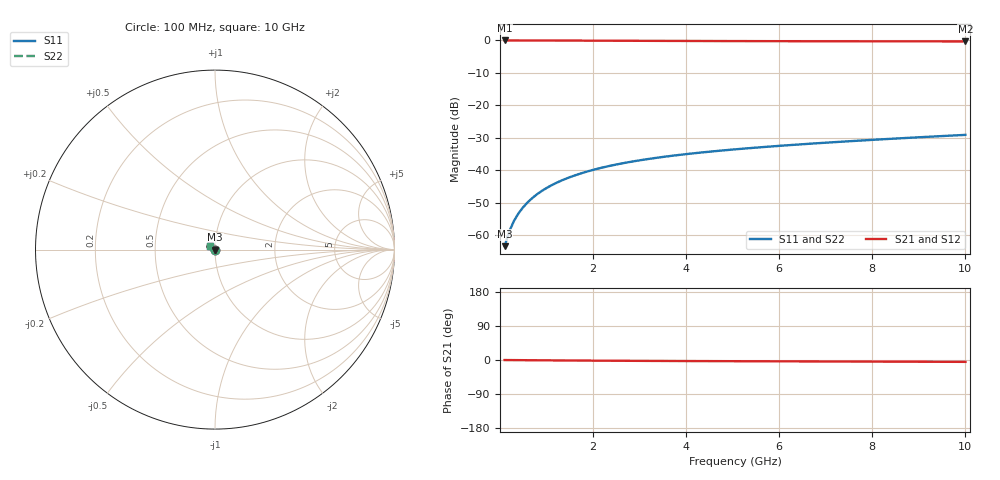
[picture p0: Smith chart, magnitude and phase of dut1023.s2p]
! Touchstone file exported from HFSS 2024.1.0
!  File:  C:/UserFiles/LocalFiles/RDL_TSV_Batchsim/temp_TSV1_1023_1780059991.aedt
!  Generated:  09:15:39 PM May 29, 2026
!  Design:  TSV1
!  Project:  temp_TSV1_1023_1780059991
!  Setup:  Setup1
!  Solution:  Sweep
! Variables:
!  dtsv = 5.63um
!  hbump = 3um
!  htsv = 72.22um
!  lrdl = 252.1521522um
!  p = 40
!  p1 = 47.56um
!  t = 500um
!  trdl = 3um
!  wrdl = 24.89489489um
# GHz S MA R 50.000000
! Terminal data exported
! Port[1] = TSV22_T1
! Port[2] = TSV22_T2
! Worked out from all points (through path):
!   100 points, 100 MHz to 10 GHz, reference 50 ohm
!   highest |S21| = 0.00 dB at 100 MHz (marker M1); lowest = -0.3 dB at 10 GHz (marker M2)
!   lowest |S11| = -63.4 dB at 100 MHz (marker M3), VSWR 1.00, Z = 50 - j0.0548 ohm
!   |S11| at or under -10 dB: start of sweep to end of sweep
!   |S22| runs from -63.4 to -29.1 dB; largest |S21 - S12| = 1.1e-14
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0.1  0.0006748 -54.2  0.9996 -0.1  0.9996 -0.1  0.0006748 -54.2
! Gamma 0 0 0 0
! Port Impedance 50 0 50 0
0.2  0.001141 -73.3  0.9995 -0.2  0.9995 -0.2  0.001141 -73.3
0.3  0.001649 -82.4  0.9994 -0.3  0.9994 -0.3  0.001649 -82.4
0.4  0.00217 -88.3  0.9992 -0.4  0.9992 -0.4  0.00217 -88.3
0.5  0.002696 -92.7  0.999 -0.5  0.999 -0.5  0.002696 -92.7
0.6  0.003223 -96.3  0.9988 -0.6  0.9988 -0.6  0.003223 -96.3
0.7  0.00375 -99.5  0.9985 -0.6  0.9985 -0.6  0.00375 -99.5
0.8  0.004274 -102.4  0.9982 -0.7  0.9982 -0.7  0.004274 -102.4
0.9  0.004794 -105.1  0.9978 -0.8  0.9978 -0.8  0.004794 -105.1
1.1  0.005819 -110.2  0.9971 -1.0  0.9971 -1.0  0.005819 -110.2
1.4  0.007313 -117.1  0.9957 -1.2  0.9957 -1.2  0.007313 -117.1
1.6  0.008274 -121.4  0.9947 -1.4  0.9947 -1.4  0.008274 -121.4
1.8  0.009207 -125.6  0.9937 -1.5  0.9937 -1.5  0.009207 -125.6
2.1  0.01055 -131.5  0.992 -1.7  0.992 -1.7  0.01055 -131.5
2.5  0.01224 -139.0  0.9897 -2.0  0.9897 -2.0  0.01224 -139.0
2.9  0.01382 -145.9  0.9874 -2.2  0.9874 -2.2  0.01382 -145.9
3.4  0.01565 -153.9  0.9847 -2.5  0.9847 -2.5  0.01565 -153.9
4.2  0.01834 -165.2  0.9807 -2.8  0.9807 -2.8  0.01834 -165.2
5.1  0.0211 -176.1  0.9771 -3.2  0.9771 -3.2  0.0211 -176.1
6.7  0.0257 168.3  0.9722 -3.8  0.9722 -3.8  0.0257 168.3
8.4  0.03047 155.7  0.9686 -4.4  0.9686 -4.4  0.03047 155.7
10  0.03503 146.4  0.9662 -4.9  0.9662 -4.9  0.03503 146.4
